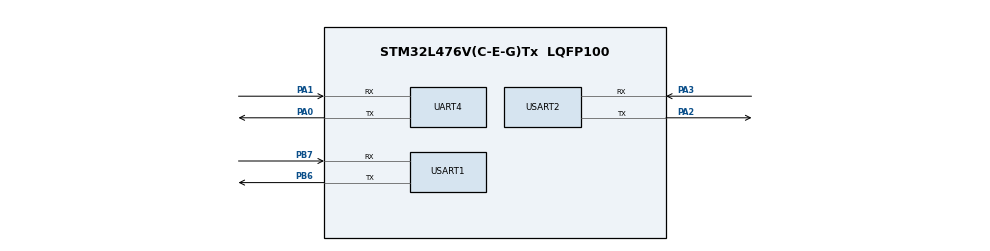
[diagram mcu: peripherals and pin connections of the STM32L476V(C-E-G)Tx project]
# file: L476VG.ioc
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Dma.Request0=USART2_RX
Dma.Request1=USART1_RX
Dma.Request2=UART4_RX
Dma.UART4_RX.2.Direction=DMA_PERIPH_TO_MEMORY
Dma.UART4_RX.2.Instance=DMA2_Channel5
Dma.UART4_RX.2.MemDataAlignment=DMA_MDATAALIGN_BYTE
Dma.UART4_RX.2.MemInc=DMA_MINC_ENABLE
Dma.UART4_RX.2.Mode=DMA_NORMAL
Dma.UART4_RX.2.PeriphDataAlignment=DMA_PDATAALIGN_BYTE
Dma.UART4_RX.2.PeriphInc=DMA_PINC_DISABLE
Dma.UART4_RX.2.Priority=DMA_PRIORITY_LOW
Dma.USART1_RX.1.Direction=DMA_PERIPH_TO_MEMORY
Dma.USART1_RX.1.Instance=DMA1_Channel5
Dma.USART1_RX.1.MemDataAlignment=DMA_MDATAALIGN_BYTE
Dma.USART1_RX.1.MemInc=DMA_MINC_ENABLE
Dma.USART1_RX.1.Mode=DMA_NORMAL
Dma.USART1_RX.1.PeriphDataAlignment=DMA_PDATAALIGN_BYTE
Dma.USART1_RX.1.PeriphInc=DMA_PINC_DISABLE
Dma.USART1_RX.1.Priority=DMA_PRIORITY_LOW
Dma.USART2_RX.0.Direction=DMA_PERIPH_TO_MEMORY
Dma.USART2_RX.0.Instance=DMA1_Channel6
Dma.USART2_RX.0.MemDataAlignment=DMA_MDATAALIGN_BYTE
Dma.USART2_RX.0.MemInc=DMA_MINC_ENABLE
Dma.USART2_RX.0.Mode=DMA_NORMAL
Dma.USART2_RX.0.PeriphDataAlignment=DMA_PDATAALIGN_BYTE
Dma.USART2_RX.0.PeriphInc=DMA_PINC_DISABLE
Dma.USART2_RX.0.Priority=DMA_PRIORITY_LOW
FREERTOS.Tasks01=defaultTask,24,128,StartDefaultTask,Default,NULL,Dynamic,NULL,NULL
Mcu.Family=STM32L4
Mcu.Name=STM32L476V(C-E-G)Tx
Mcu.Package=LQFP100
NVIC.DMA1_Channel5_IRQn=true\:5\:0\:false\:false\:true\:true\:false\:true
NVIC.DMA1_Channel6_IRQn=true\:5\:0\:false\:false\:true\:true\:false\:true
NVIC.DMA2_Channel5_IRQn=true\:5\:0\:false\:false\:true\:true\:false\:true
NVIC.PriorityGroup=NVIC_PRIORITYGROUP_4
NVIC.TIM8_UP_IRQn=true\:0\:0\:false\:false\:true\:false\:false\:true
NVIC.TimeBase=TIM8_UP_IRQn
NVIC.TimeBaseIP=TIM8
NVIC.UART4_IRQn=true\:5\:0\:false\:false\:true\:true\:true\:true
NVIC.USART1_IRQn=true\:5\:0\:false\:false\:true\:true\:true\:true
NVIC.USART2_IRQn=true\:5\:0\:false\:false\:true\:true\:true\:true
PA0.Mode=Asynchronous
PA0.Signal=UART4_TX
PA1.Mode=Asynchronous
PA1.Signal=UART4_RX
PA2.Mode=Asynchronous
PA2.Signal=USART2_TX
PA3.Mode=Asynchronous
PA3.Signal=USART2_RX
PB6.Mode=Asynchronous
PB6.Signal=USART1_TX
PB7.Mode=Asynchronous
PB7.Signal=USART1_RX
ProjectManager.HeapSize=0x200
ProjectManager.StackSize=0x400
ProjectManager.TargetToolchain=STM32CubeIDE
RCC.HSE_VALUE=8000000
RCC.HSI_VALUE=16000000
RCC.LSE_VALUE=32768
RCC.MSI_VALUE=4000000
RCC.VCOOutputFreq_Value=32000000
USART1.VirtualMode-Asynchronous=VM_ASYNC
USART2.VirtualMode-Asynchronous=VM_ASYNC
VP_FREERTOS_VS_CMSIS_V2.Mode=CMSIS_V2
VP_SYS_VS_tim8.Mode=TIM8
board=custom

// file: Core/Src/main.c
/* USER CODE BEGIN Header */
/**
 ******************************************************************************
 * @file           : main.c
 * @brief          : Main program body
 ******************************************************************************
 * @attention
 *
 * <h2><center>&copy; Copyright (c) 2019 STMicroelectronics.
 * All rights reserved.</center></h2>
 *
 * This software component is licensed by ST under BSD 3-Clause license,
 * the "License"; You may not use this file except in compliance with the
 * License. You may obtain a copy of the License at:
 *                        opensource.org/licenses/BSD-3-Clause
 *
 ******************************************************************************
 */
/* USER CODE END Header */

#include "main.h"
#include "cmsis_os.h"
#include "dma.h"
#include "usart.h"
#include "gpio.h"

/* USER CODE BEGIN PV */
uint8_t uart1RxBuffer[UARTRXBUFFERSIZE] = { 0 };
uint8_t uart2RxBuffer[UARTRXBUFFERSIZE] = { 0 };
uint8_t uart4RxBuffer[UARTRXBUFFERSIZE] = { 0 };

/* USER CODE END PV */

void SystemClock_Config(void);
void MX_FREERTOS_Init(void);
/* USER CODE BEGIN PFP */
void uartEnableIDLE(void);
/* USER CODE END PFP */

int main(void) {

	/* MCU Configuration--------------------------------------------------------*/

	/* Reset of all peripherals, Initializes the Flash interface and the Systick. */
	HAL_Init();

	/* Configure the system clock */
	SystemClock_Config();

	/* Initialize all configured peripherals */
	MX_GPIO_Init();
	MX_DMA_Init();
	MX_UART4_Init();
	MX_USART1_UART_Init();
	MX_USART2_UART_Init();
	/* USER CODE BEGIN 2 */
	uartEnableIDLE();
	/* USER CODE END 2 */

	/* Call init function for freertos objects (in freertos.c) */
	MX_FREERTOS_Init();

	/* Start scheduler */
	osKernelStart();

	/* We should never get here as control is now taken by the scheduler */

	/* Infinite loop */
	while (1) {

	}
}

void SystemClock_Config(void) {
	RCC_OscInitTypeDef RCC_OscInitStruct = { 0 };
	RCC_ClkInitTypeDef RCC_ClkInitStruct = { 0 };
	RCC_PeriphCLKInitTypeDef PeriphClkInit = { 0 };

	/** Initializes the CPU, AHB and APB busses clocks
	 */
	RCC_OscInitStruct.OscillatorType = RCC_OSCILLATORTYPE_MSI;
	RCC_OscInitStruct.MSIState = RCC_MSI_ON;
	RCC_OscInitStruct.MSICalibrationValue = 0;
	RCC_OscInitStruct.MSIClockRange = RCC_MSIRANGE_6;
	RCC_OscInitStruct.PLL.PLLState = RCC_PLL_NONE;
	if (HAL_RCC_OscConfig(&RCC_OscInitStruct) != HAL_OK) {
		Error_Handler();
	}
	/** Initializes the CPU, AHB and APB busses clocks
	 */
	RCC_ClkInitStruct.ClockType = RCC_CLOCKTYPE_HCLK | RCC_CLOCKTYPE_SYSCLK
			| RCC_CLOCKTYPE_PCLK1 | RCC_CLOCKTYPE_PCLK2;
	RCC_ClkInitStruct.SYSCLKSource = RCC_SYSCLKSOURCE_MSI;
	RCC_ClkInitStruct.AHBCLKDivider = RCC_SYSCLK_DIV1;
	RCC_ClkInitStruct.APB1CLKDivider = RCC_HCLK_DIV1;
	RCC_ClkInitStruct.APB2CLKDivider = RCC_HCLK_DIV1;

	if (HAL_RCC_ClockConfig(&RCC_ClkInitStruct, FLASH_LATENCY_0) != HAL_OK) {
		Error_Handler();
	}
	PeriphClkInit.PeriphClockSelection = RCC_PERIPHCLK_USART1
			| RCC_PERIPHCLK_USART2 | RCC_PERIPHCLK_UART4;
	PeriphClkInit.Usart1ClockSelection = RCC_USART1CLKSOURCE_PCLK2;
	PeriphClkInit.Usart2ClockSelection = RCC_USART2CLKSOURCE_PCLK1;
	PeriphClkInit.Uart4ClockSelection = RCC_UART4CLKSOURCE_PCLK1;
	if (HAL_RCCEx_PeriphCLKConfig(&PeriphClkInit) != HAL_OK) {
		Error_Handler();
	}
	/** Configure the main internal regulator output voltage
	 */
	if (HAL_PWREx_ControlVoltageScaling(PWR_REGULATOR_VOLTAGE_SCALE1)
			!= HAL_OK) {
		Error_Handler();
	}
}

/* USER CODE BEGIN 4 */
/* 开启IDLE空闲中断和DMA接收
 *
 */
void uartEnableIDLE(void) {
	__HAL_UART_ENABLE_IT(&huart1, UART_IT_IDLE);
	__HAL_UART_ENABLE_IT(&huart1, UART_IT_ERR);
	HAL_UART_Receive_DMA(&huart1, uart1RxBuffer, UARTRXBUFFERSIZE);
	__HAL_UART_ENABLE_IT(&huart2, UART_IT_IDLE);
	__HAL_UART_ENABLE_IT(&huart2, UART_IT_ERR);
	HAL_UART_Receive_DMA(&huart2, uart2RxBuffer, UARTRXBUFFERSIZE);
	__HAL_UART_ENABLE_IT(&huart4, UART_IT_IDLE);
	__HAL_UART_ENABLE_IT(&huart4, UART_IT_ERR);
	HAL_UART_Receive_DMA(&huart4, uart4RxBuffer, UARTRXBUFFERSIZE);
}

/**
 * @brief  UART error callback.
 * @param  huart UART handle.
 * @retval None
 */
void HAL_UART_ErrorCallback(UART_HandleTypeDef *huart) {
	/* Prevent unused argument(s) compilation warning */
	UNUSED(huart);
	uint8_t temp;
	/* NOTE : This function should not be modified, when the callback is needed,
	 the HAL_UART_ErrorCallback can be implemented in the user file.
	 */
	if (huart->Instance == USART1) {
		if (__HAL_UART_GET_FLAG(&huart1, UART_FLAG_ORE) != RESET) {
			temp = huart1.Instance->RDR;
			temp = temp;
			__HAL_UART_CLEAR_OREFLAG(&huart1);
			HAL_UART_Receive_DMA(&huart1, uart1RxBuffer, UARTRXBUFFERSIZE);
		}
	} else if (huart->Instance == USART2) {
		if (__HAL_UART_GET_FLAG(&huart2, UART_FLAG_ORE) != RESET) {
			temp = huart2.Instance->RDR;
			temp = temp;
			__HAL_UART_CLEAR_OREFLAG(&huart2);
			HAL_UART_Receive_DMA(&huart2, uart2RxBuffer, UARTRXBUFFERSIZE);
		}
	} else if (huart->Instance == UART4) {
		if (__HAL_UART_GET_FLAG(&huart4, UART_FLAG_ORE) != RESET) {
			temp = huart4.Instance->RDR;
			temp = temp;
			__HAL_UART_CLEAR_OREFLAG(&huart4);
			HAL_UART_Receive_DMA(&huart4, uart4RxBuffer, UARTRXBUFFERSIZE);
		}
	}
}
/* USER CODE END 4 */

void HAL_TIM_PeriodElapsedCallback(TIM_HandleTypeDef *htim) {
	if (htim->Instance == TIM8) {
		HAL_IncTick();
	}
}

void Error_Handler(void) {
}

/************************ (C) COPYRIGHT STMicroelectronics *****END OF FILE****/

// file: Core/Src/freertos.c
/* USER CODE BEGIN Header */
/**
 ******************************************************************************
 * File Name          : freertos.c
 * Description        : Code for freertos applications
 ******************************************************************************
 * @attention
 *
 * <h2><center>&copy; Copyright (c) 2019 STMicroelectronics.
 * All rights reserved.</center></h2>
 *
 * This software component is licensed by ST under Ultimate Liberty license
 * SLA0044, the "License"; You may not use this file except in compliance with
 * the License. You may obtain a copy of the License at:
 *                             www.st.com/SLA0044
 *
 ******************************************************************************
 */
/* USER CODE END Header */

#include "FreeRTOS.h"
#include "task.h"
#include "main.h"
#include "cmsis_os.h"

/* USER CODE BEGIN Includes */
#include "usart.h"
/* USER CODE END Includes */

/* USER CODE BEGIN Variables */
osMessageQueueId_t osQueueUart1;
osMessageQueueId_t osQueueUart2;
osMessageQueueId_t osQueueUart4;

osThreadId_t uart1TaskHandle;
osThreadId_t uart2TaskHandle;
osThreadId_t uart4TaskHandle;
/* USER CODE END Variables */
osThreadId_t defaultTaskHandle;

/* USER CODE BEGIN FunctionPrototypes */
void uart1RxTask(void *argument);
void uart2RxTask(void *argument);
void uart4RxTask(void *argument);
/* USER CODE END FunctionPrototypes */

void StartDefaultTask(void *argument);

void MX_FREERTOS_Init(void); /* (MISRA C 2004 rule 8.1) */

void MX_FREERTOS_Init(void) {
	osKernelInitialize();

	/* USER CODE BEGIN RTOS_QUEUES */
	/* add queues, ... */
	osQueueUart1 = osMessageQueueNew(UARTQUEUENUM, sizeof(UARTMessageQueue_TypeDef), NULL);
	osQueueUart2 = osMessageQueueNew(UARTQUEUENUM, sizeof(UARTMessageQueue_TypeDef), NULL);
	osQueueUart4 = osMessageQueueNew(UARTQUEUENUM, sizeof(UARTMessageQueue_TypeDef), NULL);
	/* USER CODE END RTOS_QUEUES */

	/* Create the thread(s) */
	/* definition and creation of defaultTask */
	//const osThreadAttr_t defaultTask_attributes = { .name = "defaultTask",
	//		.priority = (osPriority_t) osPriorityNormal, .stack_size = 128 };
	//defaultTaskHandle = osThreadNew(StartDefaultTask, NULL,
	//		&defaultTask_attributes);

	const osThreadAttr_t uart1RxTask_attributes = { .name = "uart1RxTask",
			.priority = (osPriority_t) osPriorityNormal, .stack_size = 1024 };
	uart1TaskHandle = osThreadNew(uart1RxTask, NULL, &uart1RxTask_attributes);
	const osThreadAttr_t uart2RxTask_attributes = { .name = "uart2RxTask",
			.priority = (osPriority_t) osPriorityNormal, .stack_size = 1024 };
	uart2TaskHandle = osThreadNew(uart2RxTask, NULL, &uart2RxTask_attributes);
	const osThreadAttr_t uart4RxTask_attributes = { .name = "uart4RxTask",
			.priority = (osPriority_t) osPriorityNormal, .stack_size = 1024 };
	uart4TaskHandle = osThreadNew(uart4RxTask, NULL, &uart4RxTask_attributes);

}

void StartDefaultTask(void *argument) {
	for (;;) {
		osDelay(1);
	}
}

/* USER CODE BEGIN Application */
void uart1RxTask(void *argument) {
	UARTMessageQueue_TypeDef msg;
	osStatus_t status;
	while (1) {
		status = osMessageQueueGet(osQueueUart1, &msg, NULL, 0);

		if (status == osOK) {
			HAL_UART_Transmit(&huart1, msg.uartRxTemp, strlen(msg.uartRxTemp),
					1000);
			memset(msg.uartRxTemp, 0x00, strlen(msg.uartRxTemp));
		}
		osThreadYield();
	}
}

void uart2RxTask(void *argument) {
	UARTMessageQueue_TypeDef msg;
	osStatus_t status;
	while (1) {
		status = osMessageQueueGet(osQueueUart2, &msg, NULL, 0);

		if (status == osOK) {
			HAL_UART_Transmit(&huart2, msg.uartRxTemp, strlen(msg.uartRxTemp),
					1000);
			memset(msg.uartRxTemp, 0x00, strlen(msg.uartRxTemp));
		}
		osThreadYield();
	}
}

void uart4RxTask(void *argument) {
	UARTMessageQueue_TypeDef msg;
	osStatus_t status;
	while (1) {
		status = osMessageQueueGet(osQueueUart4, &msg, NULL, 0);

		if (status == osOK) {
			HAL_UART_Transmit(&huart4, msg.uartRxTemp, strlen(msg.uartRxTemp),
					1000);
			memset(msg.uartRxTemp, 0x00, strlen(msg.uartRxTemp));
		}
		osThreadYield();
	}
}
/* USER CODE END Application */

/************************ (C) COPYRIGHT STMicroelectronics *****END OF FILE****/
